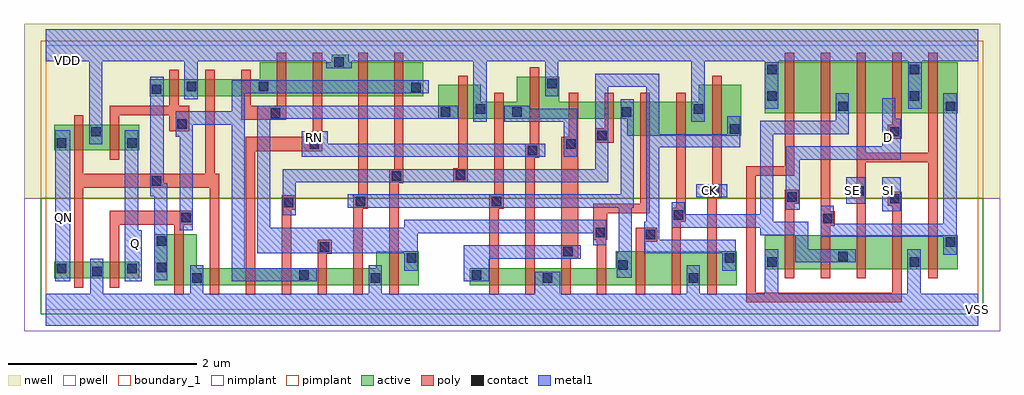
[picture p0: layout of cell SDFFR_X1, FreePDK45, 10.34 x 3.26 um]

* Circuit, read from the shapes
.subckt SDFFR_X1 CK D Q QN RN SE SI VDD VSS
M1 VSS n1 QN VSUBS nfet w=0.18u l=0.1u
M2 Q n2 VSS VSUBS nfet w=0.18u l=0.1u
M3 VSS n2 n1 VSUBS nfet w=0.54u l=0.1u
M4 n3 n1 VSS VSUBS nfet w=0.18u l=0.1u
M5 n4 RN n3 VSUBS nfet w=0.18u l=0.1u
M6 n2 n5 n4 VSUBS nfet w=0.18u l=0.1u
M7 n6 n7 n2 VSUBS nfet w=0.18u l=0.1u
M8 VSS n8 n6 VSUBS nfet w=0.18u l=0.1u
M9 n7 n5 VSS VSUBS nfet w=0.36u l=0.1u
M10 n9 n8 n10 VSUBS nfet w=0.18u l=0.1u
M11 VSS RN n9 VSUBS nfet w=0.18u l=0.1u
M12 n11 n10 VSS VSUBS nfet w=0.18u l=0.1u
M13 n8 n7 n11 VSUBS nfet w=0.18u l=0.1u
M14 n12 n5 n8 VSUBS nfet w=0.36u l=0.1u
M15 VSS n13 n12 VSUBS nfet w=0.36u l=0.1u
M16 n5 CK VSS VSUBS nfet w=0.36u l=0.1u
M17 n14 D VSS VSUBS nfet w=0.36u l=0.1u
M18 n13 n15 n14 VSUBS nfet w=0.36u l=0.1u
M19 n16 SE n13 VSUBS nfet w=0.36u l=0.1u
M20 VSS SI n16 VSUBS nfet w=0.36u l=0.1u
M21 n15 SE VSS VSUBS nfet w=0.36u l=0.1u
M22 VDD n1 QN n17 pfet w=0.27u l=0.1u
M23 Q n2 VDD n17 pfet w=0.27u l=0.1u
M24 VDD n2 n1 n17 pfet w=0.18u l=0.1u
M25 n18 n1 VDD n17 pfet w=0.18u l=0.1u
M26 n2 n7 n18 n17 pfet w=0.18u l=0.1u
M27 n19 n7 n2 n17 pfet w=0.36u l=0.1u
M28 VDD RN n19 n17 pfet w=0.36u l=0.1u
M29 n20 n8 VDD n17 pfet w=0.36u l=0.1u
M30 n2 n5 n20 n17 pfet w=0.36u l=0.1u
M31 VDD n5 n7 n17 pfet w=0.36u l=0.1u
M32 n10 n8 VDD n17 pfet w=0.18u l=0.1u
M33 VDD RN n10 n17 pfet w=0.45u l=0.1u
M34 n21 n10 VDD n17 pfet w=0.18u l=0.1u
M35 n8 n5 n21 n17 pfet w=0.18u l=0.1u
M36 n22 n7 n8 n17 pfet w=0.36u l=0.1u
M37 VDD n13 n22 n17 pfet w=0.36u l=0.1u
M38 n5 CK VDD n17 pfet w=0.54u l=0.1u
M39 n23 SI VDD n17 pfet w=0.54u l=0.1u
M40 n13 n15 n23 n17 pfet w=0.54u l=0.1u
M41 n24 SE n13 n17 pfet w=0.54u l=0.1u
M42 VDD D n24 n17 pfet w=0.54u l=0.1u
M43 n15 SE VDD n17 pfet w=0.54u l=0.1u
.ends

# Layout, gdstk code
import gdstk
lib = gdstk.Library(unit=1e-6, precision=1e-09)
def R(c, l, rs):  # rectangles x0, y0, x1, y1
    for r in rs: c.add(gdstk.rectangle(r[:2], r[2:], *l))
def P(c, l, *ps):  # polygons
    for p in ps: c.add(gdstk.Polygon(p, *l))
active = (1, 0)
pwell = (2, 0)
nwell = (3, 0)
nimplant = (4, 0)
pimplant = (5, 0)
poly = (9, 0)
contact = (10, 0)
metal1 = (11, 0)
boundary_1 = (235, 1)

sdffr_x1 = lib.new_cell('SDFFR_X1')
R(sdffr_x1, active, [(0.09,0.33,0.99,0.51), (7.62,0.43,9.66,0.79), (0.09,1.69,0.99,1.96), (7.62,2.08,9.66,2.62)])
P(sdffr_x1, active, [(4.16,2.02),(6.16,2.02),(6.16,1.84),(7.37,1.84),(7.37,2.38),(6.92,2.38),(6.92,2.2),(5.44,2.2),(5.44,2.47),(4.99,2.47),(4.99,2.2),(4.61,2.2),(4.61,2.38),(4.16,2.38)],
  [(4.49,0.26),(7.32,0.26),(7.32,0.62),(6.04,0.62),(6.04,0.44),(4.49,0.44)],
  [(1.1,2.26),(4,2.26),(4,2.62),(3.21,2.62),(3.21,2.7),(3.03,2.7),(3.03,2.62),(2.27,2.62),(2.27,2.44),(1.1,2.44)],
  [(1.15,0.26),(3.95,0.26),(3.95,0.62),(3.5,0.62),(3.5,0.44),(1.6,0.44),(1.6,0.8),(1.15,0.8)])
R(sdffr_x1, pwell, [(-0.23,-0.23,10.11,1.18)])
R(sdffr_x1, nwell, [(-0.23,1.18,10.11,3.03)])
R(sdffr_x1, nimplant, [(-0.05,-0.05,9.93,1.18)])
R(sdffr_x1, pimplant, [(-0.05,1.18,9.93,2.85)])
P(sdffr_x1, poly, [(8.54,1.18),(8.59,1.18),(8.59,0.33),(8.69,0.33),(8.69,1.56),(9.35,1.56),(9.35,0.33),(9.45,0.33),(9.45,2.72),(9.35,2.72),(9.35,1.66),(8.69,1.66),(8.69,2.72),(8.59,2.72),(8.59,1.33),(8.54,1.33)],
  [(8.92,1.81),(9.07,1.81),(9.07,2.72),(8.97,2.72),(8.97,1.96),(8.92,1.96)],
  [(8.92,1.1),(8.97,1.1),(8.97,0.18),(7.52,0.18),(7.52,1.42),(7.93,1.42),(7.93,2.72),(7.83,2.72),(7.83,1.52),(7.42,1.52),(7.42,0.08),(9.07,0.08),(9.07,1.25),(8.92,1.25)],
  [(8.21,0.33),(8.31,0.33),(8.31,0.89),(8.36,0.89),(8.36,1.04),(8.31,1.04),(8.31,2.72),(8.21,2.72)],
  [(7.83,0.33),(7.93,0.33),(7.93,1.12),(7.98,1.12),(7.98,1.27),(7.83,1.27)],
  [(7.01,0.16),(7.11,0.16),(7.11,1.18),(7.16,1.18),(7.16,2.48),(7.06,2.48),(7.06,1.33),(7.01,1.33)],
  [(6.63,0.16),(6.73,0.16),(6.73,0.93),(6.78,0.93),(6.78,2.3),(6.68,2.3),(6.68,1.08),(6.63,1.08)],
  [(6.25,0.16),(6.35,0.16),(6.35,0.72),(6.48,0.72),(6.48,0.87),(6.25,0.87)],
  [(5.8,0.74),(5.84,0.74),(5.84,0.16),(5.94,0.16),(5.94,0.74),(5.95,0.74),(5.95,1.02),(6.4,1.02),(6.4,2.3),(6.3,2.3),(6.3,1.12),(5.8,1.12)],
  [(5.82,1.77),(6.02,1.77),(6.02,2.3),(5.92,2.3),(5.92,1.92),(5.82,1.92)],
  [(5.46,0.16),(5.56,0.16),(5.56,0.54),(5.64,0.54),(5.64,2.3),(5.54,2.3),(5.54,1.83),(5.46,1.83)],
  [(5.08,0.16),(5.18,0.16),(5.18,1.61),(5.23,1.61),(5.23,2.57),(5.13,2.57),(5.13,1.76),(5.08,1.76)],
  [(4.7,0.16),(4.8,0.16),(4.8,1.07),(4.85,1.07),(4.85,2.3),(4.75,2.3),(4.75,1.22),(4.7,1.22)],
  [(4.32,1.35),(4.47,1.35),(4.47,2.48),(4.37,2.48),(4.37,1.5),(4.32,1.5)],
  [(3.64,0.16),(3.74,0.16),(3.74,1.34),(3.79,1.34),(3.79,2.72),(3.69,2.72),(3.69,1.49),(3.64,1.49)],
  [(3.26,0.16),(3.36,0.16),(3.36,1.07),(3.41,1.07),(3.41,2.72),(3.31,2.72),(3.31,1.22),(3.26,1.22)],
  [(2.88,0.16),(2.98,0.16),(2.98,0.59),(3.03,0.59),(3.03,0.74),(2.88,0.74)],
  [(2.12,0.16),(2.22,0.16),(2.22,1.68),(2.93,1.68),(2.93,2.72),(2.83,2.72),(2.83,1.83),(2.12,1.83)],
  [(2.5,0.16),(2.6,0.16),(2.6,1.06),(2.65,1.06),(2.65,1.21),(2.5,1.21)],
  [(2.07,2.01),(2.55,2.01),(2.55,2.72),(2.45,2.72),(2.45,2.16),(2.17,2.16),(2.17,2.54),(2.07,2.54)],
  [(0.3,0.23),(0.4,0.23),(0.4,1.29),(1.74,1.29),(1.74,0.16),(1.84,0.16),(1.84,1.44),(1.79,1.44),(1.79,2.54),(1.69,2.54),(1.69,1.44),(0.4,1.44),(0.4,2.06),(0.3,2.06)],
  [(0.68,0.23),(0.78,0.23),(0.78,0.9),(1.36,0.9),(1.36,0.16),(1.46,0.16),(1.46,0.9),(1.56,0.9),(1.56,1.05),(0.68,1.05)],
  [(0.68,1.59),(0.78,1.59),(0.78,2.06),(1.31,2.06),(1.31,1.89),(1.52,1.89),(1.52,2.16),(1.41,2.16),(1.41,2.54),(1.31,2.54),(1.31,2.16),(0.68,2.16)])
R(sdffr_x1, contact, [(1.555,0.285,1.655,0.385), (3.445,0.285,3.545,0.385), (5.265,0.285,5.365,0.385), (6.815,0.285,6.915,0.385), (2.685,0.315,2.785,0.415), (4.515,0.315,4.615,0.415), (0.495,0.355,0.595,0.455), (0.115,0.385,0.215,0.485), (0.865,0.385,0.965,0.485), (1.175,0.395,1.275,0.495), (6.065,0.425,6.165,0.525), (7.645,0.455,7.745,0.555), (9.155,0.455,9.255,0.555), (3.825,0.495,3.925,0.595), (7.195,0.495,7.295,0.595), (8.395,0.515,8.495,0.615), (5.485,0.565,5.585,0.665), (2.905,0.615,3.005,0.715), (9.535,0.665,9.635,0.765), (1.175,0.675,1.275,0.775), (6.355,0.745,6.455,0.845), (5.825,0.765,5.925,0.865), (8.235,0.915,8.335,1.015), (1.435,0.925,1.535,1.025), (6.655,0.955,6.755,1.055), (2.525,1.085,2.625,1.185), (3.285,1.095,3.385,1.195), (4.725,1.095,4.825,1.195), (8.945,1.125,9.045,1.225), (7.855,1.145,7.955,1.245), (7.035,1.205,7.135,1.305), (8.565,1.205,8.665,1.305), (1.125,1.315,1.225,1.415), (3.665,1.365,3.765,1.465), (4.345,1.375,4.445,1.475), (5.105,1.635,5.205,1.735), (2.795,1.705,2.895,1.805), (5.515,1.705,5.615,1.805), (0.115,1.715,0.215,1.815), (0.865,1.715,0.965,1.815), (5.845,1.795,5.945,1.895), (0.485,1.835,0.585,1.935), (8.945,1.835,9.045,1.935), (7.245,1.865,7.345,1.965), (1.395,1.915,1.495,2.015), (2.385,2.035,2.485,2.135), (4.185,2.045,4.285,2.145), (4.945,2.045,5.045,2.145), (6.105,2.045,6.205,2.145), (4.555,2.075,4.655,2.175), (6.865,2.075,6.965,2.175), (8.395,2.105,8.495,2.205), (9.535,2.105,9.635,2.205), (7.645,2.215,7.745,2.315), (9.155,2.215,9.255,2.315), (1.125,2.285,1.225,2.385), (3.875,2.305,3.975,2.405), (1.495,2.315,1.595,2.415), (2.255,2.315,2.355,2.415), (5.315,2.345,5.415,2.445), (7.645,2.495,7.745,2.595), (9.155,2.495,9.255,2.595), (3.055,2.575,3.155,2.675)])
R(sdffr_x1, metal1, [(0.1,0.3,0.26,1.9), (0.1,0.3,0.26,1.9), (8.86,1.04,9.06,1.4), (8.86,1.04,9.06,1.4), (8.48,1.12,8.68,1.4), (8.48,1.12,8.68,1.4), (6.89,1.19,7.22,1.33), (6.89,1.19,7.22,1.33)])
P(sdffr_x1, metal1, [(7.84,1.06),(7.99,1.06),(7.99,1.59),(9.06,1.59),(9.06,2.02),(9,2.02),(9,2.24),(8.86,2.24),(8.86,1.73),(7.84,1.73)],
  [(0,-0.17),(9.88,-0.17),(9.88,0.17),(9.27,0.17),(9.27,0.64),(9.13,0.64),(9.13,0.17),(7.76,0.17),(7.76,0.64),(7.62,0.64),(7.62,0.17),(6.93,0.17),(6.93,0.47),(6.79,0.47),(6.79,0.17),(5.45,0.17),(5.45,0.4),(5.18,0.4),(5.18,0.17),(3.56,0.17),(3.56,0.47),(3.42,0.47),(3.42,0.17),(1.67,0.17),(1.67,0.47),(1.53,0.47),(1.53,0.17),(0.61,0.17),(0.61,0.54),(0.47,0.54),(0.47,0.17),(0,0.17)],
  [(0.84,0.3),(1.02,0.3),(1.02,0.84),(0.98,0.84),(0.98,1.9),(0.84,1.9)],
  [(0,2.63),(0.46,2.63),(0.46,1.75),(0.6,1.75),(0.6,2.63),(1.47,2.63),(1.47,2.23),(1.61,2.23),(1.61,2.63),(2.97,2.63),(2.97,2.56),(3.24,2.56),(3.24,2.63),(4.53,2.63),(4.53,1.99),(4.67,1.99),(4.67,2.63),(5.29,2.63),(5.29,2.26),(5.43,2.26),(5.43,2.63),(6.84,2.63),(6.84,1.99),(6.98,1.99),(6.98,2.63),(7.62,2.63),(7.62,2.13),(7.76,2.13),(7.76,2.63),(9.14,2.63),(9.14,2.13),(9.28,2.13),(9.28,2.63),(9.88,2.63),(9.88,2.97),(0,2.97)],
  [(2.71,1.62),(5.29,1.62),(5.29,1.76),(2.99,1.76),(2.99,1.89),(2.71,1.89)],
  [(0,2.63),(0.46,2.63),(0.46,1.75),(0.6,1.75),(0.6,2.63),(1.47,2.63),(1.47,2.23),(1.61,2.23),(1.61,2.63),(2.97,2.63),(2.97,2.56),(3.24,2.56),(3.24,2.63),(4.53,2.63),(4.53,1.99),(4.67,1.99),(4.67,2.63),(5.29,2.63),(5.29,2.26),(5.43,2.26),(5.43,2.63),(6.84,2.63),(6.84,1.99),(6.98,1.99),(6.98,2.63),(7.62,2.63),(7.62,2.13),(7.76,2.13),(7.76,2.63),(9.14,2.63),(9.14,2.13),(9.28,2.13),(9.28,2.63),(9.88,2.63),(9.88,2.97),(0,2.97)],
  [(0,-0.17),(9.88,-0.17),(9.88,0.17),(9.27,0.17),(9.27,0.64),(9.13,0.64),(9.13,0.17),(7.76,0.17),(7.76,0.64),(7.62,0.64),(7.62,0.17),(6.93,0.17),(6.93,0.47),(6.79,0.47),(6.79,0.17),(5.45,0.17),(5.45,0.4),(5.18,0.4),(5.18,0.17),(3.56,0.17),(3.56,0.47),(3.42,0.47),(3.42,0.17),(1.67,0.17),(1.67,0.47),(1.53,0.47),(1.53,0.17),(0.61,0.17),(0.61,0.54),(0.47,0.54),(0.47,0.17),(0,0.17)],
  [(8.21,0.77),(9.51,0.77),(9.51,0.58),(9.65,0.58),(9.65,2.29),(9.51,2.29),(9.51,0.91),(8.35,0.91),(8.35,1.1),(8.21,1.1)],
  [(7.84,1.06),(7.99,1.06),(7.99,1.59),(9.06,1.59),(9.06,2.02),(9,2.02),(9,2.24),(8.86,2.24),(8.86,1.73),(7.84,1.73)],
  [(6.63,0.87),(7.57,0.87),(7.57,0.79),(7.94,0.79),(7.94,0.5),(8.58,0.5),(8.58,0.64),(8.08,0.64),(8.08,0.93),(7.71,0.93),(7.71,1.86),(8.51,1.86),(8.51,2.29),(8.37,2.29),(8.37,2),(7.57,2),(7.57,1.01),(6.77,1.01),(6.77,1.14),(6.63,1.14)],
  [(6.5,1.72),(7.36,1.72),(7.36,2.05),(7.22,2.05),(7.22,1.86),(6.5,1.86),(6.5,2.5),(5.82,2.5),(5.82,1.49),(2.51,1.49),(2.51,1),(2.65,1),(2.65,1.35),(5.96,1.35),(5.96,2.36),(6.36,2.36),(6.36,0.93),(6.34,0.93),(6.34,0.6),(7.17,0.6),(7.17,0.41),(7.31,0.41),(7.31,0.74),(6.5,0.74)],
  [(3.2,1.08),(6.07,1.08),(6.07,0.61),(6.05,0.61),(6.05,0.34),(6.21,0.34),(6.21,1.08),(6.23,1.08),(6.23,2.23),(6.09,2.23),(6.09,1.22),(3.2,1.22)],
  [(2.24,0.6),(3.8,0.6),(3.8,0.41),(3.94,0.41),(3.94,0.81),(5.8,0.81),(5.8,0.68),(5.94,0.68),(5.94,0.95),(3.8,0.95),(3.8,0.87),(2.38,0.87),(2.38,2.02),(4.37,2.02),(4.37,2.16),(2.24,2.16)],
  [(4.43,0.3),(4.7,0.3),(4.7,0.54),(5.67,0.54),(5.67,0.68),(4.43,0.68)],
  [(4.86,1.99),(5.49,1.99),(5.49,1.62),(5.63,1.62),(5.63,2.13),(5.13,2.13),(5.13,2.16),(4.86,2.16)],
  [(2.71,1.62),(5.29,1.62),(5.29,1.76),(2.99,1.76),(2.99,1.89),(2.71,1.89)],
  [(2.11,2.29),(4.06,2.29),(4.06,2.43),(1.97,2.43),(1.97,2.1),(1.38,2.1),(1.38,1.83),(1.42,1.83),(1.42,0.84),(1.56,0.84),(1.56,1.96),(1.97,1.96),(1.97,0.3),(2.87,0.3),(2.87,0.44),(2.11,0.44)],
  [(1.11,1.2),(1.15,1.2),(1.15,0.31),(1.29,0.31),(1.29,1.34),(1.25,1.34),(1.25,2.47),(1.11,2.47)],
  [(0.84,0.3),(1.02,0.3),(1.02,0.84),(0.98,0.84),(0.98,1.9),(0.84,1.9)])
R(sdffr_x1, boundary_1, [(0,0,9.88,2.8)])
sdffr_x1.add(gdstk.Label('VSS', (9.87,0), layer=11, texttype=0))
sdffr_x1.add(gdstk.Label('VDD', (0.23,2.64), layer=11, texttype=0))
sdffr_x1.add(gdstk.Label('SI', (8.93,1.26), layer=11, texttype=0))
sdffr_x1.add(gdstk.Label('SE', (8.55,1.26), layer=11, texttype=0))
sdffr_x1.add(gdstk.Label('RN', (2.85,1.82), layer=11, texttype=0))
sdffr_x1.add(gdstk.Label('QN', (0.19,0.98), layer=11, texttype=0))
sdffr_x1.add(gdstk.Label('Q', (0.95,0.7), layer=11, texttype=0))
sdffr_x1.add(gdstk.Label('D', (8.93,1.82), layer=11, texttype=0))
sdffr_x1.add(gdstk.Label('CK', (7.03,1.26), layer=11, texttype=0))

lib.write_gds('SDFFR_X1.gds')
